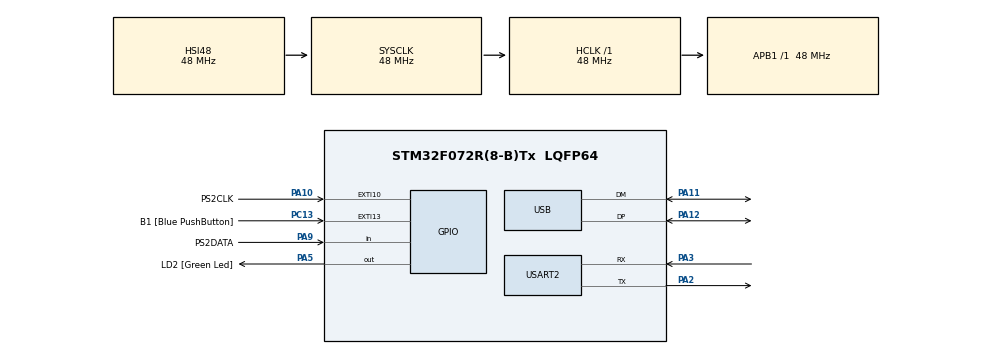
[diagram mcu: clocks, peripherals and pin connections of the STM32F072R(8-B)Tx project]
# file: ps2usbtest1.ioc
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Mcu.Family=STM32F0
Mcu.Name=STM32F072R(8-B)Tx
Mcu.Package=LQFP64
NVIC.EXTI4_15_IRQn=true\:0\:0\:false\:false\:true\:true\:true\:true
NVIC.TIM16_IRQn=true\:0\:0\:false\:false\:true\:true\:true\:true
NVIC.USB_IRQn=true\:0\:0\:false\:false\:true\:false\:true\:true
PA10.GPIO_Label=PS2CLK
PA10.Signal=GPXTI10
PA11.Mode=Device
PA11.Signal=USB_DM
PA12.Mode=Device
PA12.Signal=USB_DP
PA13.GPIO_Label=TMS
PA13.Mode=Serial_Wire
PA13.Signal=SYS_SWDIO
PA14.GPIO_Label=TCK
PA14.Mode=Serial_Wire
PA14.Signal=SYS_SWCLK
PA2.GPIO_Mode=GPIO_MODE_AF_PP
PA2.GPIO_ModeDefaultPP=GPIO_MODE_AF_PP
PA2.GPIO_PuPd=GPIO_NOPULL
PA2.GPIO_Speed=GPIO_SPEED_FREQ_HIGH
PA2.Mode=Asynchronous
PA2.Signal=USART2_TX
PA3.GPIO_Mode=GPIO_MODE_AF_PP
PA3.GPIO_ModeDefaultPP=GPIO_MODE_AF_PP
PA3.GPIO_PuPd=GPIO_NOPULL
PA3.GPIO_Speed=GPIO_SPEED_FREQ_HIGH
PA3.Mode=Asynchronous
PA3.Signal=USART2_RX
PA5.GPIO_Label=LD2 [Green Led]
PA5.GPIO_Mode=GPIO_MODE_OUTPUT_PP
PA5.GPIO_PuPd=GPIO_NOPULL
PA5.GPIO_Speed=GPIO_SPEED_FREQ_LOW
PA5.Signal=GPIO_Output
PA9.GPIO_Label=PS2DATA
PA9.Signal=GPIO_Input
PC13.GPIO_Label=B1 [Blue PushButton]
PC13.GPIO_ModeDefaultEXTI=GPIO_MODE_IT_FALLING
PC13.Signal=GPXTI13
PC14-OSC32_IN.Signal=RCC_OSC32_IN
PC15-OSC32_OUT.Signal=RCC_OSC32_OUT
PF0-OSC_IN.Mode=HSE-External-Oscillator
PF0-OSC_IN.Signal=RCC_OSC_IN
PF1-OSC_OUT.Mode=HSE-External-Oscillator
PF1-OSC_OUT.Signal=RCC_OSC_OUT
ProjectManager.HeapSize=0x200
ProjectManager.StackSize=0x400
ProjectManager.TargetToolchain=STM32CubeIDE
RCC.AHBFreq_Value=48000000
RCC.APB1Freq_Value=48000000
RCC.APB1TimFreq_Value=48000000
RCC.FLatency-AdvancedSettings=FLASH_LATENCY_1
RCC.HCLKFreq_Value=48000000
RCC.PLLDivider=RCC_PREDIV_DIV2
RCC.PLLMUL=RCC_PLL_MUL12
RCC.PLLSourceVirtual=RCC_PLLSOURCE_HSE
RCC.PREFETCH_ENABLE-AdvancedSettings=1
RCC.SYSCLKFreq_VALUE=48000000
RCC.SYSCLKSource=RCC_SYSCLKSOURCE_HSI48
TIM16.Period=149
TIM16.Prescaler=47
USART2.VirtualMode-Asynchronous=VM_ASYNC
USB_DEVICE.CLASS_NAME_FS=HID
USB_DEVICE.VirtualMode=Hid
USB_DEVICE.VirtualModeFS=Hid_FS
VP_TIM16_VS_ClockSourceINT.Mode=Enable_Timer
VP_USB_DEVICE_VS_USB_DEVICE_HID_FS.Mode=HID_FS
board=NUCLEO-F072RB

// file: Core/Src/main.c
/* USER CODE BEGIN Header */
/**
 ******************************************************************************
 * @file           : main.c
 * @brief          : Main program body
 ******************************************************************************
 * @attention
 *
 * Copyright (c) 2025 STMicroelectronics.
 * All rights reserved.
 *
 * This software is licensed under terms that can be found in the LICENSE file
 * in the root directory of this software component.
 * If no LICENSE file comes with this software, it is provided AS-IS.
 *
 ******************************************************************************
 */
/* USER CODE END Header */
#include "main.h"
#include "usb_device.h"

/* USER CODE BEGIN Includes */
#include "usbd_hid.h"
#include "ps2.h"
#include "ps2usb_map.h"
#include "retarget.h"

/* USER CODE END Includes */

TIM_HandleTypeDef htim16;

UART_HandleTypeDef huart2;

/* USER CODE BEGIN PV */

extern USBD_HandleTypeDef hUsbDeviceFS;

typedef struct {
	uint8_t MODIFIER;
	uint8_t RESERVED;
	uint8_t KEYCODE1;
	uint8_t KEYCODE2;
	uint8_t KEYCODE3;
	uint8_t KEYCODE4;
	uint8_t KEYCODE5;
	uint8_t KEYCODE6;
} keyboardReportDes;

keyboardReportDes HIDkeyboard = { 0, 0, 0, 0, 0, 0, 0, 0 };

volatile uint8_t ps2_read_buffer;
volatile uint8_t ps2_read_buffer_done = 0;
volatile uint8_t parity = 0;
volatile uint8_t ps2_write = 0;
volatile uint8_t ps2_write_buffer;
volatile uint8_t ps2_write_buffer_done = 0;

uint8_t packets[10];

/* USER CODE END PV */

void SystemClock_Config(void);
static void MX_GPIO_Init(void);
static void MX_TIM16_Init(void);
static void MX_USART2_UART_Init(void);

/* USER CODE BEGIN 0 */
void HAL_TIM_PeriodElapsedCallback(TIM_HandleTypeDef *htim) {
	if (htim->Instance == TIM16) {
		//Stop timer
		HAL_TIM_Base_Stop(&htim16);

		//Set clock pin to input
		PS2CLK_GPIO_Port->MODER &= ~GPIO_MODER_MODER10_Msk;

		//Enable interrupt on clock pin
		HAL_NVIC_EnableIRQ(EXTI4_15_IRQn);

		//Set data pin to output
		uint32_t temp = PS2DATA_GPIO_Port->MODER;
		temp |= GPIO_MODER_MODER9_0;
		temp &= ~GPIO_MODER_MODER9_1;
		PS2DATA_GPIO_Port->MODER = temp;

		//Set data pin low (start bit)
		PS2DATA_GPIO_Port->BSRR &= ~GPIO_BSRR_BR_9;

		//GPIO interrupt should take over from here - on the next falling edge, send first data bit.
	}
}

void PS2_Write_Init(uint8_t data) {
	//Disable interrupt on clock pin
	HAL_NVIC_DisableIRQ(EXTI4_15_IRQn);

	//Set clock pin to output
	uint32_t temp = PS2CLK_GPIO_Port->MODER;
	temp |= GPIO_MODER_MODER10_0;
	temp &= ~GPIO_MODER_MODER10_1;
	PS2CLK_GPIO_Port->MODER = temp;

	//Set write flag to notify the ISR and update the buffer to be written to the keyboard
	ps2_write = 1;
	ps2_write_buffer = data;

	//Set clock pin low
	PS2CLK_GPIO_Port->BSRR &= ~GPIO_BSRR_BR_10;

	//Reset and start timer
	__HAL_TIM_SET_COUNTER(&htim16, 0);
	HAL_TIM_Base_Start_IT(&htim16);
}

uint8_t evenParity(uint8_t n) {
	n ^= (n >> 4);
	n ^= (n >> 2);
	n ^= (n >> 1);
	return (n & 1) ? 0 : 1;
}
/* USER CODE END 0 */

int main(void) {

	/* USER CODE BEGIN 1 */
	PS2CLK_GPIO_Port->OTYPER |= GPIO_OTYPER_OT_10;
	PS2CLK_GPIO_Port->OSPEEDR &= ~GPIO_OSPEEDR_OSPEEDR10_0;

	PS2DATA_GPIO_Port->OTYPER |= GPIO_OTYPER_OT_9;
	PS2DATA_GPIO_Port->OSPEEDR &= ~GPIO_OSPEEDR_OSPEEDR9_0;
	/* USER CODE END 1 */

	/* MCU Configuration--------------------------------------------------------*/

	/* Reset of all peripherals, Initializes the Flash interface and the Systick. */
	HAL_Init();

	/* Configure the system clock */
	SystemClock_Config();

	/* Initialize all configured peripherals */
	MX_GPIO_Init();
	MX_USB_DEVICE_Init();
	MX_TIM16_Init();
	MX_USART2_UART_Init();
	/* USER CODE BEGIN 2 */
	RetargetInit(&huart2);
	/* USER CODE END 2 */

	/* Infinite loop */
	/* USER CODE BEGIN WHILE */
	int count = 0;
	while (1) {
		/* USER CODE END WHILE */

		/* USER CODE BEGIN 3 */

   if (ps2_read_buffer_done)
   {
     packets[count++] = ps2_read_buffer;
     if (count == 10)
     {
    	 printf("\r\n ==================== \r\n");
       for(int i = 0; i < 10; i++){
       	printf("\r\n 0x%x, \r\n", packets[i]);
       }
       return 0;
     }

     if (evenParity(ps2_read_buffer)!=parity)
     {
       uint8_t data = 0xFE;
       PS2_Write_Init(data);
     }
     ps2_read_buffer_done = 0;
   }
   if (ps2_write_buffer_done)
   {
   	uint32_t temp = PS2DATA_GPIO_Port->MODER;
		temp &= ~GPIO_MODER_MODER9_0;
		temp &= ~GPIO_MODER_MODER9_1;
		PS2DATA_GPIO_Port->MODER = temp;

		ps2_write_buffer_done = 0;
   }

//		uint8_t x = 8;
//		printf("\r\nHello, %u\r\n", x);
		//baud 38400
 }

	/* USER CODE END 3 */
}

void SystemClock_Config(void) {
	RCC_OscInitTypeDef RCC_OscInitStruct = { 0 };
	RCC_ClkInitTypeDef RCC_ClkInitStruct = { 0 };
	RCC_PeriphCLKInitTypeDef PeriphClkInit = { 0 };

	/** Initializes the RCC Oscillators according to the specified parameters
	 * in the RCC_OscInitTypeDef structure.
	 */
	RCC_OscInitStruct.OscillatorType = RCC_OSCILLATORTYPE_HSI48;
	RCC_OscInitStruct.HSI48State = RCC_HSI48_ON;
	RCC_OscInitStruct.PLL.PLLState = RCC_PLL_NONE;
	if (HAL_RCC_OscConfig(&RCC_OscInitStruct) != HAL_OK) {
		Error_Handler();
	}

	/** Initializes the CPU, AHB and APB buses clocks
	 */
	RCC_ClkInitStruct.ClockType = RCC_CLOCKTYPE_HCLK | RCC_CLOCKTYPE_SYSCLK
			| RCC_CLOCKTYPE_PCLK1;
	RCC_ClkInitStruct.SYSCLKSource = RCC_SYSCLKSOURCE_HSI48;
	RCC_ClkInitStruct.AHBCLKDivider = RCC_SYSCLK_DIV1;
	RCC_ClkInitStruct.APB1CLKDivider = RCC_HCLK_DIV1;

	if (HAL_RCC_ClockConfig(&RCC_ClkInitStruct, FLASH_LATENCY_1) != HAL_OK) {
		Error_Handler();
	}
	PeriphClkInit.PeriphClockSelection = RCC_PERIPHCLK_USB
			| RCC_PERIPHCLK_USART2;
	PeriphClkInit.Usart2ClockSelection = RCC_USART2CLKSOURCE_PCLK1;
	PeriphClkInit.UsbClockSelection = RCC_USBCLKSOURCE_HSI48;

	if (HAL_RCCEx_PeriphCLKConfig(&PeriphClkInit) != HAL_OK) {
		Error_Handler();
	}
}

static void MX_TIM16_Init(void) {

	htim16.Instance = TIM16;
	htim16.Init.Prescaler = 47;
	htim16.Init.CounterMode = TIM_COUNTERMODE_UP;
	htim16.Init.Period = 149;
	htim16.Init.ClockDivision = TIM_CLOCKDIVISION_DIV1;
	htim16.Init.RepetitionCounter = 0;
	htim16.Init.AutoReloadPreload = TIM_AUTORELOAD_PRELOAD_DISABLE;
	if (HAL_TIM_Base_Init(&htim16) != HAL_OK) {
		Error_Handler();
	}

}

static void MX_USART2_UART_Init(void) {

	huart2.Instance = USART2;
	huart2.Init.BaudRate = 38400;
	huart2.Init.WordLength = UART_WORDLENGTH_8B;
	huart2.Init.StopBits = UART_STOPBITS_1;
	huart2.Init.Parity = UART_PARITY_NONE;
	huart2.Init.Mode = UART_MODE_TX_RX;
	huart2.Init.HwFlowCtl = UART_HWCONTROL_NONE;
	huart2.Init.OverSampling = UART_OVERSAMPLING_16;
	huart2.Init.OneBitSampling = UART_ONE_BIT_SAMPLE_DISABLE;
	huart2.AdvancedInit.AdvFeatureInit = UART_ADVFEATURE_NO_INIT;
	if (HAL_UART_Init(&huart2) != HAL_OK) {
		Error_Handler();
	}

}

static void MX_GPIO_Init(void) {
	GPIO_InitTypeDef GPIO_InitStruct = { 0 };

	/* GPIO Ports Clock Enable */
	__HAL_RCC_GPIOC_CLK_ENABLE();
	__HAL_RCC_GPIOF_CLK_ENABLE();
	__HAL_RCC_GPIOA_CLK_ENABLE();

	/*Configure GPIO pin Output Level */
	HAL_GPIO_WritePin(LD2_GPIO_Port, LD2_Pin, GPIO_PIN_RESET);

	/*Configure GPIO pin : B1_Pin */
	GPIO_InitStruct.Pin = B1_Pin;
	GPIO_InitStruct.Mode = GPIO_MODE_IT_FALLING;
	GPIO_InitStruct.Pull = GPIO_NOPULL;
	HAL_GPIO_Init(B1_GPIO_Port, &GPIO_InitStruct);

	/*Configure GPIO pin : LD2_Pin */
	GPIO_InitStruct.Pin = LD2_Pin;
	GPIO_InitStruct.Mode = GPIO_MODE_OUTPUT_PP;
	GPIO_InitStruct.Pull = GPIO_NOPULL;
	GPIO_InitStruct.Speed = GPIO_SPEED_FREQ_LOW;
	HAL_GPIO_Init(LD2_GPIO_Port, &GPIO_InitStruct);

	/*Configure GPIO pin : PS2DATA_Pin */
	GPIO_InitStruct.Pin = PS2DATA_Pin;
	GPIO_InitStruct.Mode = GPIO_MODE_INPUT;
	GPIO_InitStruct.Pull = GPIO_NOPULL;
	HAL_GPIO_Init(PS2DATA_GPIO_Port, &GPIO_InitStruct);

	/*Configure GPIO pin : PS2CLK_Pin */
	GPIO_InitStruct.Pin = PS2CLK_Pin;
	GPIO_InitStruct.Mode = GPIO_MODE_IT_RISING;
	GPIO_InitStruct.Pull = GPIO_NOPULL;
	HAL_GPIO_Init(PS2CLK_GPIO_Port, &GPIO_InitStruct);

	/* EXTI interrupt init*/
	HAL_NVIC_SetPriority(EXTI4_15_IRQn, 0, 0);
	HAL_NVIC_EnableIRQ(EXTI4_15_IRQn);

}

/* USER CODE BEGIN 4 */
void HAL_GPIO_EXTI_Callback(uint16_t GPIO_Pin) {
	if (GPIO_Pin == PS2CLK_Pin) {
		if (ps2_write)
			PS2_Write();
		else
			PS2_Read();
	}
}

int HIDkeyboardInsert(uint8_t scan_code) {
	uint8_t *keys = &HIDkeyboard.KEYCODE1;
	for (int i = 0; i < 6; i++) {
		if (keys[i] == 0) {
			keys[i] = scan_code;
			return 0;
		}
		if (i == 5) {
			for (int j = 0; j < 6; j++) {
				keys[j] = 0x01;
			}
		}
	}
	return 1;
}

/* USER CODE END 4 */

void Error_Handler(void) {
	__disable_irq();
	while (1) {
	}
}
